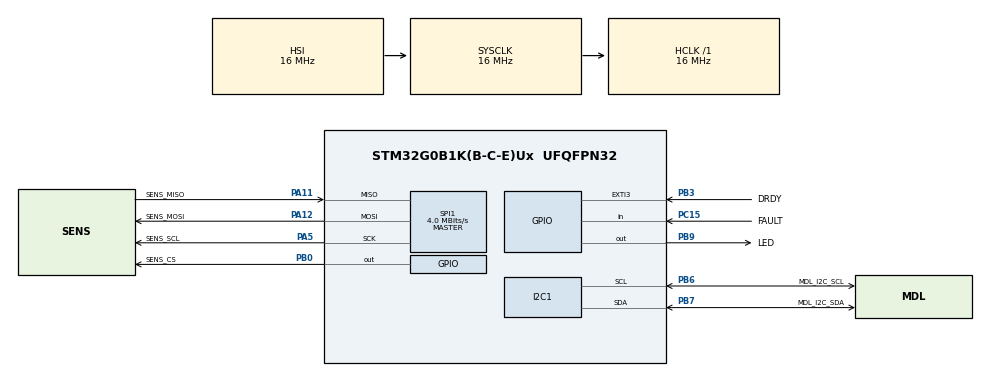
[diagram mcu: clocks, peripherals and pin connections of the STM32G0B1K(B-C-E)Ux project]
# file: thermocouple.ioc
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I2C1.OwnAddress=0x66
I2C1.Timing=0x00503D58
Mcu.Family=STM32G0
Mcu.Name=STM32G0B1K(B-C-E)Ux
Mcu.Package=UFQFPN32
NVIC.I2C1_IRQn=true\:0\:0\:false\:false\:true\:true\:true\:true
PA11\ [PA9].GPIO_Label=SENS_MISO
PA11\ [PA9].Mode=Full_Duplex_Master
PA11\ [PA9].Signal=SPI1_MISO
PA12\ [PA10].GPIO_Label=SENS_MOSI
PA12\ [PA10].Mode=Full_Duplex_Master
PA12\ [PA10].Signal=SPI1_MOSI
PA13.GPIO_Label=MC1_SWDDIO
PA13.Mode=Serial_Wire
PA13.Signal=SYS_SWDIO
PA14-BOOT0.GPIO_Label=MC1_SWDCLK
PA14-BOOT0.Mode=Serial_Wire
PA14-BOOT0.Signal=SYS_SWCLK
PA5.GPIO_Label=SENS_SCL
PA5.Mode=Full_Duplex_Master
PA5.Signal=SPI1_SCK
PB0.GPIO_Label=SENS_CS
PB0.Signal=GPIO_Output
PB3.GPIO_Label=DRDY
PB3.Signal=GPXTI3
PB6.GPIO_Label=MDL_I2C_SCL
PB6.Mode=I2C
PB6.Signal=I2C1_SCL
PB7.GPIO_Label=MDL_I2C_SDA
PB7.Mode=I2C
PB7.Signal=I2C1_SDA
PB9.GPIO_Label=LED
PB9.Signal=GPIO_Output
PC15-OSC32_OUT\ (PC15).GPIO_Label=FAULT
PC15-OSC32_OUT\ (PC15).Signal=GPIO_Input
ProjectManager.HeapSize=0x200
ProjectManager.StackSize=0x400
ProjectManager.TargetToolchain=STM32CubeIDE
RCC.AHBFreq_Value=16000000
RCC.CortexFreq_Value=16000000
RCC.EXTERNAL_CLOCK_VALUE=48000
RCC.HCLKFreq_Value=16000000
RCC.HSE_VALUE=8000000
RCC.HSI48_VALUE=48000000
RCC.HSI_VALUE=16000000
RCC.LSE_VALUE=32768
RCC.SYSCLKFreq_VALUE=16000000
RCC.USBFreq_Value=48000000
RCC.VCOOutputFreq_Value=128000000
SPI1.BaudRatePrescaler=SPI_BAUDRATEPRESCALER_4
SPI1.CLKPhase=SPI_PHASE_2EDGE
SPI1.CLKPolarity=SPI_POLARITY_LOW
SPI1.CalculateBaudRate=4.0 MBits/s
SPI1.DataSize=SPI_DATASIZE_8BIT
SPI1.Direction=SPI_DIRECTION_2LINES
SPI1.Mode=SPI_MODE_MASTER
SPI1.VirtualType=VM_MASTER
VP_SYS_VS_DBSignals.Mode=DisableDeadBatterySignals
board=custom

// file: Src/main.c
/* USER CODE BEGIN Header */
/**
  ******************************************************************************
  * @file           : main.c
  * @brief          : Main program body
  ******************************************************************************
  * @attention
  *
  * Copyright (c) 2026 STMicroelectronics.
  * All rights reserved.
  *
  * This software is licensed under terms that can be found in the LICENSE file
  * in the root directory of this software component.
  * If no LICENSE file comes with this software, it is provided AS-IS.
  *
  ******************************************************************************
  */
/* USER CODE END Header */
#include "main.h"

/* USER CODE BEGIN Includes */
#include "MAX31856.h"
#include "aesir_protocol.h"
#include <stdbool.h>
#include <string.h>
#include <assert.h>
/* USER CODE END Includes */

I2C_HandleTypeDef hi2c1;

SPI_HandleTypeDef hspi1;

/* USER CODE BEGIN PV */
#define MODULE_I2C               hi2c1
#define MODULE_ID                0x66U /* Matched to the 0x45 address tested in your terminal */
#define MODULE_RECORD_BYTES      10U   /* 4 byte timestamp + 3 byte temp + 2 byte cold junction + 1 byte fault */
#define MODULE_BATCH_COUNT       10U   /* Readings per publication */
#define MODULE_PAYLOAD_BYTES     (MODULE_RECORD_BYTES * MODULE_BATCH_COUNT)
#define MODULE_FRAME_BYTES       (AESIR_HEADER_BYTES + MODULE_PAYLOAD_BYTES + AESIR_CRC_BYTES)

_Static_assert(MODULE_RECORD_BYTES > 0U && MODULE_BATCH_COUNT > 0U,
               "A batch must contain readings");
_Static_assert(MODULE_PAYLOAD_BYTES <= AESIR_MAX_PAYLOAD_BYTES,
               "Reduce batch size: payload must fit one frame");

static uint8_t module_payload[MODULE_PAYLOAD_BYTES];
static size_t module_count;
static uint16_t module_message_id;
static volatile uint8_t published[AESIR_MAX_FRAME_BYTES];
static volatile uint16_t published_length;
static uint8_t snapshot[AESIR_MAX_FRAME_BYTES];
static uint16_t snapshot_length;
static uint8_t selected_offset, rx_byte;
static bool expect_offset;
static uint8_t padding = 0xFFU;
static volatile uint32_t module_i2c_error;

/* Helper to store 16-bit values in Big-Endian format */
static void StoreU16BE(uint8_t *p, uint16_t value)
{
    p[0] = (uint8_t)(value >> 8U);
    p[1] = (uint8_t)(value & 0xFFU);
}

/* Helper to store 24-bit values in Big-Endian format */
static void StoreU24BE(uint8_t *p, uint32_t value)
{
    p[0] = (uint8_t)(value >> 16U);
    p[1] = (uint8_t)(value >> 8U);
    p[2] = (uint8_t)(value & 0xFFU);
}

/* Helper to store 32-bit values in Big-Endian format */
static void StoreU32BE(uint8_t *p, uint32_t value)
{
    for (uint32_t i = 0; i < 4U; ++i) {
        p[i] = (uint8_t)(value >> (8U * (3U - i)));
    }
}

static int Module_PublishFrame(const uint8_t *frame, size_t length, void *ctx)
{
    (void)ctx;
    if (frame == NULL || length != MODULE_FRAME_BYTES) { return -1; }
    uint32_t saved_mask = __get_PRIMASK();
    __disable_irq();
    for (size_t i = 0; i < length; ++i) { published[i] = frame[i]; }
    published_length = (uint16_t)length;
    __set_PRIMASK(saved_mask);
    return 0;
}

static aesir_status_t Module_AppendRecord(const uint8_t *record)
{
    if (record == NULL) { return AESIR_ERR_NULL; }
    memcpy(&module_payload[module_count * MODULE_RECORD_BYTES],
           record, MODULE_RECORD_BYTES);
    if (++module_count < MODULE_BATCH_COUNT) { return AESIR_STATUS_WAITING; }

    const aesir_message_t message = {
        .address = MODULE_ID, .type = AESIR_TYPE_DATA,
        .priority = AESIR_PRIORITY_SENSOR, .message_id = module_message_id,
        .payload = module_payload, .payload_length = MODULE_PAYLOAD_BYTES
    };
    const aesir_transport_t transport = {
        .write_frame = Module_PublishFrame, .context = NULL
    };
    aesir_status_t result = aesir_send(&transport, &message);
    module_count = 0U;
    if (result == AESIR_STATUS_MESSAGE_READY) { ++module_message_id; }
    return result;
}

static void Module_CheckI2C(HAL_StatusTypeDef result)
{
    if (result != HAL_OK) {
        module_i2c_error = HAL_I2C_GetError(&MODULE_I2C);
        if (module_i2c_error == HAL_I2C_ERROR_NONE) {
            module_i2c_error = HAL_I2C_ERROR_INVALID_PARAM;
        }
    }
}

static void Module_ListenIfReady(I2C_HandleTypeDef *h)
{
    if (HAL_I2C_GetState(h) == HAL_I2C_STATE_READY) {
        Module_CheckI2C(HAL_I2C_EnableListen_IT(h));
    }
}
/* USER CODE END PV */

void SystemClock_Config(void);
static void MX_GPIO_Init(void);
static void MX_SPI1_Init(void);
static void MX_I2C1_Init(void);

int main(void)
{

  /* MCU Configuration--------------------------------------------------------*/

  /* Reset of all peripherals, Initializes the Flash interface and the Systick. */
  HAL_Init();

  /* Configure the system clock */
  SystemClock_Config();

  /* Initialize all configured peripherals */
  MX_GPIO_Init();
  MX_SPI1_Init();
  MX_I2C1_Init();

  /* USER CODE BEGIN 2 */
  TC_HandleTypeDef sensor;
  TC_Init(&sensor, &hspi1, SENS_CS_GPIO_Port, SENS_CS_Pin);

  Module_CheckI2C(HAL_I2C_EnableListen_IT(&MODULE_I2C));
  /* USER CODE END 2 */

  /* Infinite loop */
  while (1)
  {

    /* USER CODE BEGIN 3 */
    int count = 0;
    while (HAL_GPIO_ReadPin(DRDY_GPIO_Port, DRDY_Pin)) {
        HAL_GPIO_WritePin(GPIOB, LED_Pin, GPIO_PIN_SET);
        if (count++ > 200) {
            count = 0;
        }
    }
    HAL_GPIO_WritePin(GPIOB, LED_Pin, GPIO_PIN_RESET);

    uint8_t record[MODULE_RECORD_BYTES];

    // Bytes 0-3: Timestamp (milliseconds since startup)
    StoreU32BE(&record[0], HAL_GetTick());

    // Bytes 4-6: Temperature raw registers (3 bytes: LTCBH, LTCBM, LTCBL)
    uint8_t tc_bytes[3];
    TC_ReadRegisters(&sensor, MAX31856_REG_LTCBH, tc_bytes, 3U);
    record[4] = tc_bytes[0];
    record[5] = tc_bytes[1];
    record[6] = tc_bytes[2];

    // Bytes 7-8: Cold Junction temperature registers (2 bytes: CJTH, CJTL)
    uint8_t cj_bytes[2];
    TC_ReadRegisters(&sensor, MAX31856_REG_CJTH, cj_bytes, 2U);
    record[7] = cj_bytes[0];
    record[8] = cj_bytes[1];

    // Byte 9: Fault status register (1 byte)
    uint8_t fault_status = 0U;
    TC_Fault(&sensor, &fault_status);
    record[9] = fault_status;

    aesir_status_t result = Module_AppendRecord(record);

    if (result < AESIR_STATUS_WAITING) {
        Error_Handler();
    }

    HAL_Delay(10);
  }
  /* USER CODE END 3 */
}

void SystemClock_Config(void)
{
  RCC_OscInitTypeDef RCC_OscInitStruct = {0};
  RCC_ClkInitTypeDef RCC_ClkInitStruct = {0};

  /** Configure the main internal regulator output voltage
  */
  HAL_PWREx_ControlVoltageScaling(PWR_REGULATOR_VOLTAGE_SCALE1);

  /** Initializes the RCC Oscillators according to the specified parameters
  * in the RCC_OscInitTypeDef structure.
  */
  RCC_OscInitStruct.OscillatorType = RCC_OSCILLATORTYPE_HSI;
  RCC_OscInitStruct.HSIState = RCC_HSI_ON;
  RCC_OscInitStruct.HSIDiv = RCC_HSI_DIV1;
  RCC_OscInitStruct.HSICalibrationValue = RCC_HSICALIBRATION_DEFAULT;
  RCC_OscInitStruct.PLL.PLLState = RCC_PLL_NONE;
  if (HAL_RCC_OscConfig(&RCC_OscInitStruct) != HAL_OK)
  {
    Error_Handler();
  }

  /** Initializes the CPU, AHB and APB buses clocks
  */
  RCC_ClkInitStruct.ClockType = RCC_CLOCKTYPE_HCLK|RCC_CLOCKTYPE_SYSCLK
                              |RCC_CLOCKTYPE_PCLK1;
  RCC_ClkInitStruct.SYSCLKSource = RCC_SYSCLKSOURCE_HSI;
  RCC_ClkInitStruct.AHBCLKDivider = RCC_SYSCLK_DIV1;
  RCC_ClkInitStruct.APB1CLKDivider = RCC_HCLK_DIV1;

  if (HAL_RCC_ClockConfig(&RCC_ClkInitStruct, FLASH_LATENCY_0) != HAL_OK)
  {
    Error_Handler();
  }
}

static void MX_I2C1_Init(void)
{

  hi2c1.Instance = I2C1;
  hi2c1.Init.Timing = 0x00503D58;
  hi2c1.Init.OwnAddress1 = (MODULE_ID << 1); /* Shifted left to fit STM32 HAL addressing alignment */
  hi2c1.Init.AddressingMode = I2C_ADDRESSINGMODE_7BIT;
  hi2c1.Init.DualAddressMode = I2C_DUALADDRESS_DISABLE;
  hi2c1.Init.OwnAddress2 = 0;
  hi2c1.Init.OwnAddress2Masks = I2C_OA2_NOMASK;
  hi2c1.Init.GeneralCallMode = I2C_GENERALCALL_DISABLE;
  hi2c1.Init.NoStretchMode = I2C_NOSTRETCH_DISABLE;
  if (HAL_I2C_Init(&hi2c1) != HAL_OK)
  {
    Error_Handler();
  }

  /** Configure Analogue filter
  */
  if (HAL_I2CEx_ConfigAnalogFilter(&hi2c1, I2C_ANALOGFILTER_ENABLE) != HAL_OK)
  {
    Error_Handler();
  }

  /** Configure Digital filter
  */
  if (HAL_I2CEx_ConfigDigitalFilter(&hi2c1, 0) != HAL_OK)
  {
    Error_Handler();
  }

}

static void MX_SPI1_Init(void)
{

  /* SPI1 parameter configuration*/
  hspi1.Instance = SPI1;
  hspi1.Init.Mode = SPI_MODE_MASTER;
  hspi1.Init.Direction = SPI_DIRECTION_2LINES;
  hspi1.Init.DataSize = SPI_DATASIZE_8BIT;
  hspi1.Init.CLKPolarity = SPI_POLARITY_LOW;
  hspi1.Init.CLKPhase = SPI_PHASE_2EDGE;
  hspi1.Init.NSS = SPI_NSS_SOFT;
  hspi1.Init.BaudRatePrescaler = SPI_BAUDRATEPRESCALER_4;
  hspi1.Init.FirstBit = SPI_FIRSTBIT_MSB;
  hspi1.Init.TIMode = SPI_TIMODE_DISABLE;
  hspi1.Init.CRCCalculation = SPI_CRCCALCULATION_DISABLE;
  hspi1.Init.CRCPolynomial = 7;
  hspi1.Init.CRCLength = SPI_CRC_LENGTH_DATASIZE;
  hspi1.Init.NSSPMode = SPI_NSS_PULSE_DISABLE;
  if (HAL_SPI_Init(&hspi1) != HAL_OK)
  {
    Error_Handler();
  }

}

static void MX_GPIO_Init(void)
{
  GPIO_InitTypeDef GPIO_InitStruct = {0};

  /* GPIO Ports Clock Enable */
  __HAL_RCC_GPIOB_CLK_ENABLE();
  __HAL_RCC_GPIOC_CLK_ENABLE();
  __HAL_RCC_GPIOA_CLK_ENABLE();

  /*Configure GPIO pin Output Level */
  HAL_GPIO_WritePin(GPIOB, LED_Pin|SENS_CS_Pin, GPIO_PIN_RESET);

  /*Configure GPIO pins : LED_Pin SENS_CS_Pin */
  GPIO_InitStruct.Pin = LED_Pin|SENS_CS_Pin;
  GPIO_InitStruct.Mode = GPIO_MODE_OUTPUT_PP;
  GPIO_InitStruct.Pull = GPIO_NOPULL;
  GPIO_InitStruct.Speed = GPIO_SPEED_FREQ_LOW;
  HAL_GPIO_Init(GPIOB, &GPIO_InitStruct);

  /*Configure GPIO pin : FAULT_Pin */
  GPIO_InitStruct.Pin = FAULT_Pin;
  GPIO_InitStruct.Mode = GPIO_MODE_INPUT;
  GPIO_InitStruct.Pull = GPIO_NOPULL;
  HAL_GPIO_Init(FAULT_GPIO_Port, &GPIO_InitStruct);

  /*Configure GPIO pin : DRDY_Pin */
  GPIO_InitStruct.Pin = DRDY_Pin;
  GPIO_InitStruct.Mode = GPIO_MODE_IT_RISING;
  GPIO_InitStruct.Pull = GPIO_NOPULL;
  HAL_GPIO_Init(DRDY_GPIO_Port, &GPIO_InitStruct);

}

/* USER CODE BEGIN 4 */
void HAL_I2C_AddrCallback(I2C_HandleTypeDef *h, uint8_t direction, uint16_t address)
{
    (void)address;
    if (h != &MODULE_I2C) { return; }
    if (direction == I2C_DIRECTION_TRANSMIT) { /* Motherboard writes */
        expect_offset = true;
        Module_CheckI2C(HAL_I2C_Slave_Seq_Receive_IT(
            h, &rx_byte, 1U, I2C_FIRST_FRAME));
    } else { /* Motherboard reads */
        if (selected_offset == 0U) {
            snapshot_length = published_length;
            for (uint16_t i = 0; i < snapshot_length; ++i) {
                snapshot[i] = published[i];
            }
        }
        if (selected_offset < snapshot_length) {
            Module_CheckI2C(HAL_I2C_Slave_Seq_Transmit_IT(
                h, &snapshot[selected_offset],
                (uint16_t)(snapshot_length - selected_offset), I2C_FIRST_FRAME));
        } else {
            Module_CheckI2C(HAL_I2C_Slave_Seq_Transmit_IT(
                h, &padding, 1U, I2C_FIRST_FRAME));
        }
    }
}

void HAL_I2C_SlaveRxCpltCallback(I2C_HandleTypeDef *h)
{
    if (h != &MODULE_I2C) { return; }
    if (expect_offset) {
        selected_offset = rx_byte;
        expect_offset = false;
    }
    Module_CheckI2C(HAL_I2C_Slave_Seq_Receive_IT(h, &rx_byte, 1U, I2C_NEXT_FRAME));
}

void HAL_I2C_SlaveTxCpltCallback(I2C_HandleTypeDef *h)
{
    if (h == &MODULE_I2C) {
        Module_CheckI2C(HAL_I2C_Slave_Seq_Transmit_IT(h, &padding, 1U, I2C_NEXT_FRAME));
    }
}

void HAL_I2C_ListenCpltCallback(I2C_HandleTypeDef *h)
{
    if (h == &MODULE_I2C) { Module_ListenIfReady(h); }
}

void HAL_I2C_ErrorCallback(I2C_HandleTypeDef *h)
{
    if (h != &MODULE_I2C) { return; }
    uint32_t error = HAL_I2C_GetError(h) & ~HAL_I2C_ERROR_AF;
    if (error != HAL_I2C_ERROR_NONE) { module_i2c_error = error; }
    Module_ListenIfReady(h);
}
/* USER CODE END 4 */

void Error_Handler(void)
{
  __disable_irq();
  while (1)
  {
  }
}
